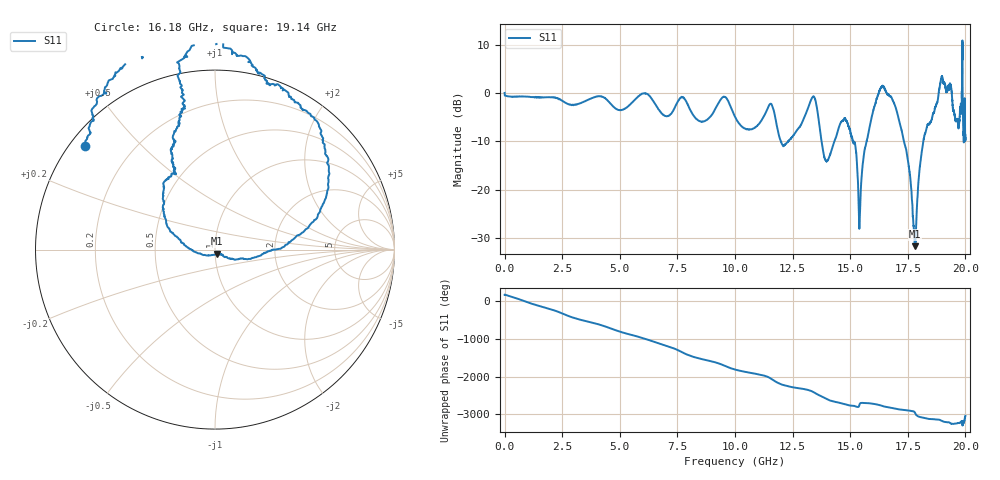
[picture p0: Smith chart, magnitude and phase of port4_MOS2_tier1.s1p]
! Created with skrf 1.8.0 (http://scikit-rf.org).
# GHz S RI R 50.0
!freq ReS11 ImS11
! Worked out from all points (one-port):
!   10001 points, 1 MHz to 20 GHz, reference 50 ohm
!   lowest |S11| = -31.7 dB at 17.8 GHz (marker M1), VSWR 1.05, Z = 51.1 - j2.4 ohm
!   |S11| at or under -10 dB: 13.76 GHz to 14.31 GHz (552.6 MHz wide, 3.94 % of centre); 15.13 GHz to 15.71 GHz (580.8 MHz wide, 3.77 % of centre); 17.33 GHz to 18.17 GHz (836.8 MHz wide, 4.71 % of centre) (the widest 3 of 6)
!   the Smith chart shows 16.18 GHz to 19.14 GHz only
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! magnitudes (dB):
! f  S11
! 1 MHz  0.1
! 2.501 GHz  -1.6
! 5.001 GHz  -3.5
! 7.501 GHz  -1.9
! 8.603 GHz  -5.9
! 9.547 GHz  -0.7
! 10 GHz  -4.9
! 10.74 GHz  -7.5
! 11.55 GHz  -2.2
! 12.05 GHz  -10.6
! 12.5 GHz  -9.0
! 13.39 GHz  -0.7
! 13.96 GHz  -14.1
! 14.67 GHz  -5.7
! 15 GHz  -7.6
! 15.21 GHz  -10.6
! 15.42 GHz  -25.1
! 15.91 GHz  -5.5
! 16.43 GHz  1.3
! 16.97 GHz  -2.9
! 17.5 GHz  -13.6
! 17.8 GHz  -31.7
! 18.18 GHz  -9.8
! 18.95 GHz  2.9
! 19.33 GHz  2.1
! 19.63 GHz  -5.5
! 19.88 GHz  3.2
! 20 GHz  -9.3
